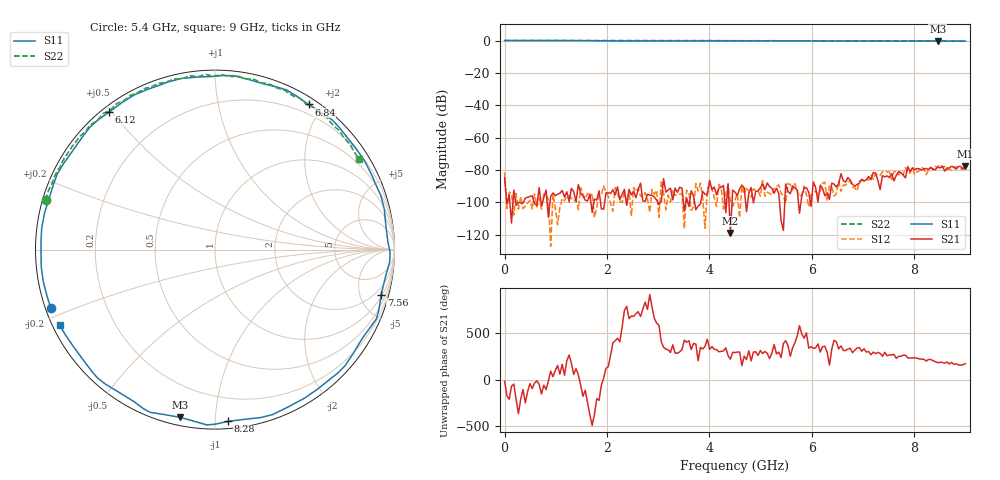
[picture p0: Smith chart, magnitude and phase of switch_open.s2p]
# Hz S DB R 50
! CMT, SC5090, 24087134, 25.3.3/4
! Date: 26.11.2025 16:45:14
! Data: Format (Calibration Info)
! Freq	S11:dB/Ang(F2)	S21:dB/Ang(F2)	S12:dB/Ang(F2)	S22:dB/Ang(F2)
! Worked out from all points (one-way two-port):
!   201 points, 300 kHz to 9 GHz, reference 50 ohm
!   highest |S21| = -77.42 dB at 9 GHz (marker M1); lowest = -118.9 dB at 4.41 GHz (marker M2)
!   lowest |S11| = -0.4 dB at 8.46 GHz (marker M3), VSWR 43.05, Z = 1.93 - j40.6 ohm
!   |S11| at or under -10 dB: nowhere
!   |S22| runs from -0.5 to 0.0 dB; largest |S21 - S12| = 7.2e-05
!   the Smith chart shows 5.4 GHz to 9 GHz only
!   S11 on the Smith chart (normalised r, x): 5.4 GHz: 0.01, -0.17; 6.12 GHz: 0.02, +0.49; 6.84 GHz: 0.08, +1.83; 7.56 GHz: 1.18, -7.35; 8.28 GHz: 0.04, -1.08; 9 GHz: 0.02, -0.23
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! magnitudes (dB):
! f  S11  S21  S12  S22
! 300 kHz  0.0  -84.9  -81.5  0.0
! 1.53 GHz  -0.1  -96.0  -94.8  0.0
! 3.015 GHz  -0.3  -101.5  -109.3  0.0
! 4.41 GHz  -0.2  -118.9  -98.7  -0.1
! 4.5 GHz  -0.2  -93.7  -98.6  -0.1
! 5.4 GHz  -0.2  -111.3  -94.4  -0.2
! 6.03 GHz  -0.2  -87.4  -94.7  -0.2
! 6.12 GHz  -0.3  -99.7  -94.8  -0.2
! 6.84 GHz  -0.3  -90.0  -91.1  -0.2
! 7.515 GHz  -0.3  -84.7  -81.2  -0.2
! 7.56 GHz  -0.4  -82.1  -85.9  -0.3
! 7.83 GHz  -0.3  -84.9  -78.5  -0.3
! 7.875 GHz  -0.3  -77.9  -82.0  -0.3
! 7.92 GHz  -0.3  -81.0  -81.9  -0.3
! 8.145 GHz  -0.2  -80.0  -78.3  -0.3
! 8.28 GHz  -0.4  -79.7  -80.1  -0.3
! 8.46 GHz  -0.4  -78.2  -78.3  -0.4
! 8.505 GHz  -0.3  -78.7  -76.7  -0.4
! 8.64 GHz  -0.4  -78.8  -79.8  -0.4
! 8.865 GHz  -0.4  -77.8  -78.4  -0.4
! 8.955 GHz  -0.4  -79.6  -78.7  -0.5
! 9 GHz  -0.3  -77.4  -78.0  -0.5
